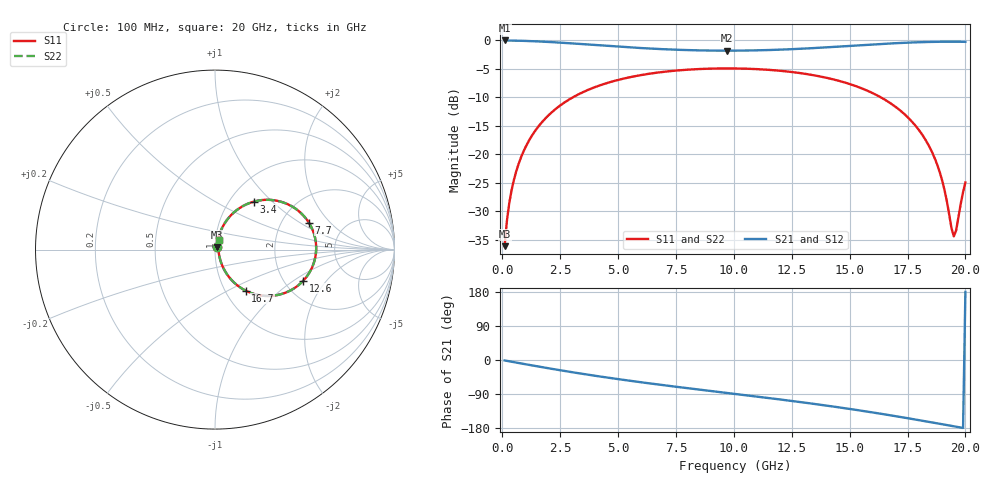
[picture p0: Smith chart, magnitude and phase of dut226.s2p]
! Touchstone file exported from HFSS 2026.1.0
!  File:  C:/ffzhzh/LocalFiles/Ansys_Project_Files/temp_train_TSV_RDL_226_1783064040_18316.aedt
!  Generated:  03:43:07 PM Jul  3, 2026
!  Design:  TSV_RDL
!  Project:  temp_train_TSV_RDL_226_1783064040_18316
! Variables:
!  h_bsmrdl = 5.01um
!  h_ox = 20um
!  h_rdl = 5um
!  h_sub = 51.63um
!  h_tmrdl = 5.43um
!  h_tsv = 51.63um
!  h_via = 3um
!  l_bsmrdl = 147.72um
!  l_sub = 3283.26um
!  l_tmrdl = 573.53um
!  m_sub = 200um
!  pitch = 55.44um
!  r_tsv = 8.15um
!  s_tmrdl = 10um
!  w_bsmrdl = 27.99um
!  w_sub = 500um
!  w_tmrdl = 20.67um
!  x_tsv_center1 = 583.865um
!  x_tsv_center2 = 759.575um
!  x_tsv_center3 = 1353.775um
!  x_tsv_center4 = 1529.485um
!  x_tsv_center5 = 2123.685um
!  x_tsv_center6 = 2299.395um
# GHz S MA R 50.000000
! Terminal data exported
! Port[1] = TM_RDL1_1_T1
! Port[2] = TM_RDL5_1_T1
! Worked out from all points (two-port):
!   200 points, 100 MHz to 20 GHz, reference 50 ohm
!   highest |S21| = -0.09 dB at 100 MHz (marker M1); lowest = -1.9 dB at 9.7 GHz (marker M2)
!   |S21| within 3 dB of the highest: start of sweep to end of sweep
!   lowest |S11| = -36.1 dB at 100 MHz (marker M3), VSWR 1.03, Z = 51 + j1.23 ohm
!   |S11| at or under -10 dB: start of sweep to 3.064 GHz; 16.33 GHz to end of sweep
!   |S22| runs from -36.1 to -5.0 dB; largest |S21 - S12| = 2.1e-14
!   S11 on the Smith chart (normalised r, x): 100 MHz: 1.02, +0.02; 3.4 GHz: 1.28, +0.78; 7.7 GHz: 2.81, +1.20; 12.6 GHz: 2.53, -1.20; 16.7 GHz: 1.24, -0.62; 20 GHz: 1.04, +0.11
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0.1  0.01571 50.0  0.9901 -1.2  0.9901 -1.2  0.01571 50.0
! Gamma 0 0 0 0
! Port Impedance 50 0 50 0
0.2  0.02624 64.5  0.9894 -2.3  0.9894 -2.3  0.02624 64.5
0.4  0.0484 72.1  0.9877 -4.5  0.9877 -4.5  0.0484 72.1
0.7  0.08185 73.8  0.9848 -7.9  0.9848 -7.9  0.08185 73.8
1  0.115 72.6  0.9809 -11.2  0.9809 -11.2  0.115 72.6
2  0.2198 64.3  0.9609 -21.9  0.9609 -21.9  0.2198 64.3
3.4  0.3431 51.1  0.9215 -35.9  0.9215 -35.9  0.3431 51.1
3.5  0.3507 50.2  0.9185 -36.9  0.9185 -36.9  0.3507 50.2
6.8  0.5212 22.8  0.8331 -65.2  0.8331 -65.2  0.5212 22.8
7.7  0.5438 16.1  0.8189 -72.1  0.8189 -72.1  0.5438 16.1
9.7  0.5639 1.7  0.8059 -86.9  0.8059 -86.9  0.5639 1.7
10.1  0.5632 -1.1  0.8064 -89.9  0.8064 -89.9  0.5632 -1.1
12.6  0.5215 -19.4  0.8323 -108.8  0.8323 -108.8  0.5215 -19.4
13.4  0.4933 -25.6  0.848 -115.3  0.848 -115.3  0.4933 -25.6
15.2  0.3991 -40.3  0.8922 -130.9  0.8922 -130.9  0.3991 -40.3
16.7  0.2852 -53.3  0.9305 -145.3  0.9305 -145.3  0.2851 -53.3
17.7  0.1922 -61.5  0.9509 -155.6  0.9509 -155.6  0.1922 -61.5
18.5  0.1107 -65.6  0.9615 -164.1  0.9615 -164.1  0.1107 -65.6
19  0.05865 -61.8  0.9648 -169.5  0.9648 -169.5  0.0586 -61.9
19.5  0.01916 0.8  0.9653 -174.9  0.9653 -174.9  0.0191 0.9
19.6  0.02154 30.1  0.9651 -176.0  0.9651 -176.0  0.0215 30.2
20  0.05672 68.8  0.963 179.6  0.963 179.6  0.05673 68.8
